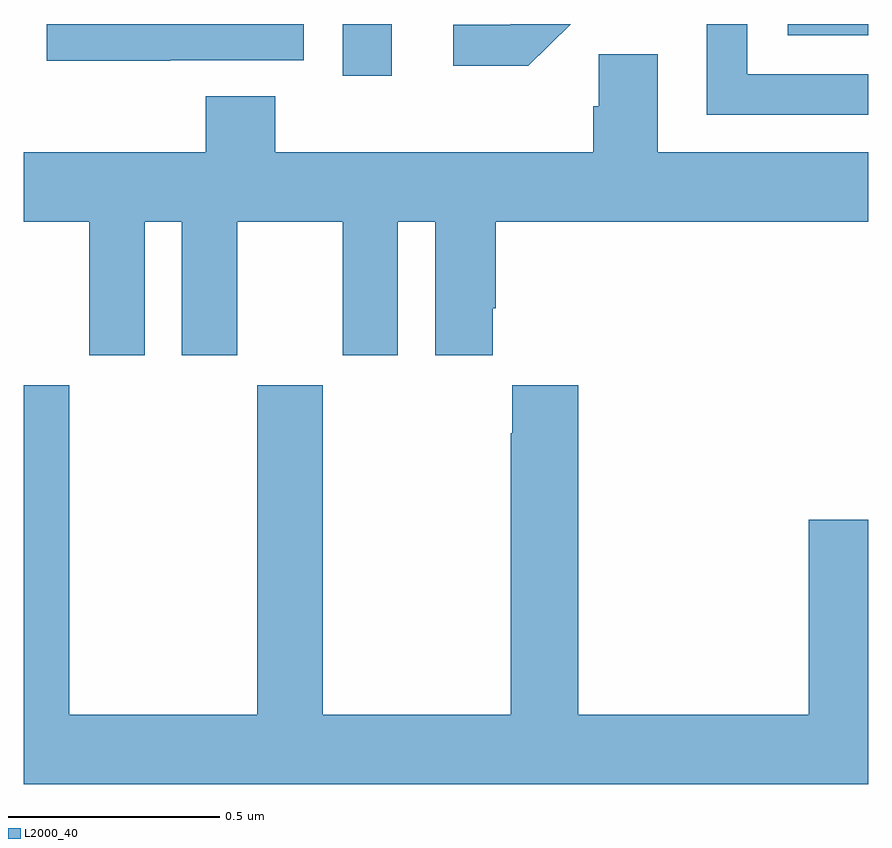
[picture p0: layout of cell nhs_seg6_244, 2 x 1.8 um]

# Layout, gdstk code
import gdstk
lib = gdstk.Library(unit=1e-6, precision=1e-09)
def R(c, l, rs):  # rectangles x0, y0, x1, y1
    for r in rs: c.add(gdstk.rectangle(r[:2], r[2:], *l))
def P(c, l, *ps):  # polygons
    for p in ps: c.add(gdstk.Polygon(p, *l))
L2000_40 = (2000, 40)

nhs_seg6_244 = lib.new_cell('nhs_seg6_244')
R(nhs_seg6_244, L2000_40, [(114.756,918.378,114.871,918.5), (115.809,918.473,116,918.5)])
P(nhs_seg6_244, L2000_40, [(114.347,918.414),(114.663,918.414),(114.663,918.5),(114.055,918.5),(114.055,918.413),(114.347,918.413)],
  [(115.295,918.5),(115.153,918.5),(115.151,918.498),(115.017,918.498),(115.017,918.401),(115.195,918.401)],
  [(116,918.381),(115.713,918.381),(115.713,918.5),(115.617,918.5),(115.617,918.285),(116,918.285)],
  [(114.286,918.032),(114.374,918.032),(114.374,917.715),(114.505,917.715),(114.505,918.032),(114.755,918.032),(114.755,917.715),(114.886,917.715),(114.886,918.032),(114.974,918.032),(114.974,917.715),(115.111,917.715),(115.111,917.827),(115.118,917.827),(115.118,918.032),(116,918.032),(116,918.196),(115.501,918.196),(115.501,918.428),(115.362,918.428),(115.362,918.305),(115.349,918.305),(115.349,918.196),(114.596,918.196),(114.596,918.329),(114.431,918.329),(114.431,918.196),(114,918.196),(114,918.032),(114.155,918.032),(114.155,917.715),(114.286,917.715)],
  [(116,917.326),(115.859,917.326),(115.859,916.864),(115.313,916.864),(115.313,917.644),(115.157,917.644),(115.157,917.531),(115.153,917.531),(115.153,916.864),(114.708,916.864),(114.708,917.644),(114.553,917.644),(114.553,916.864),(114.108,916.864),(114.108,917.644),(114,917.644),(114,916.7),(116,916.7)])

lib.write_gds('nhs_seg6_244.gds')
